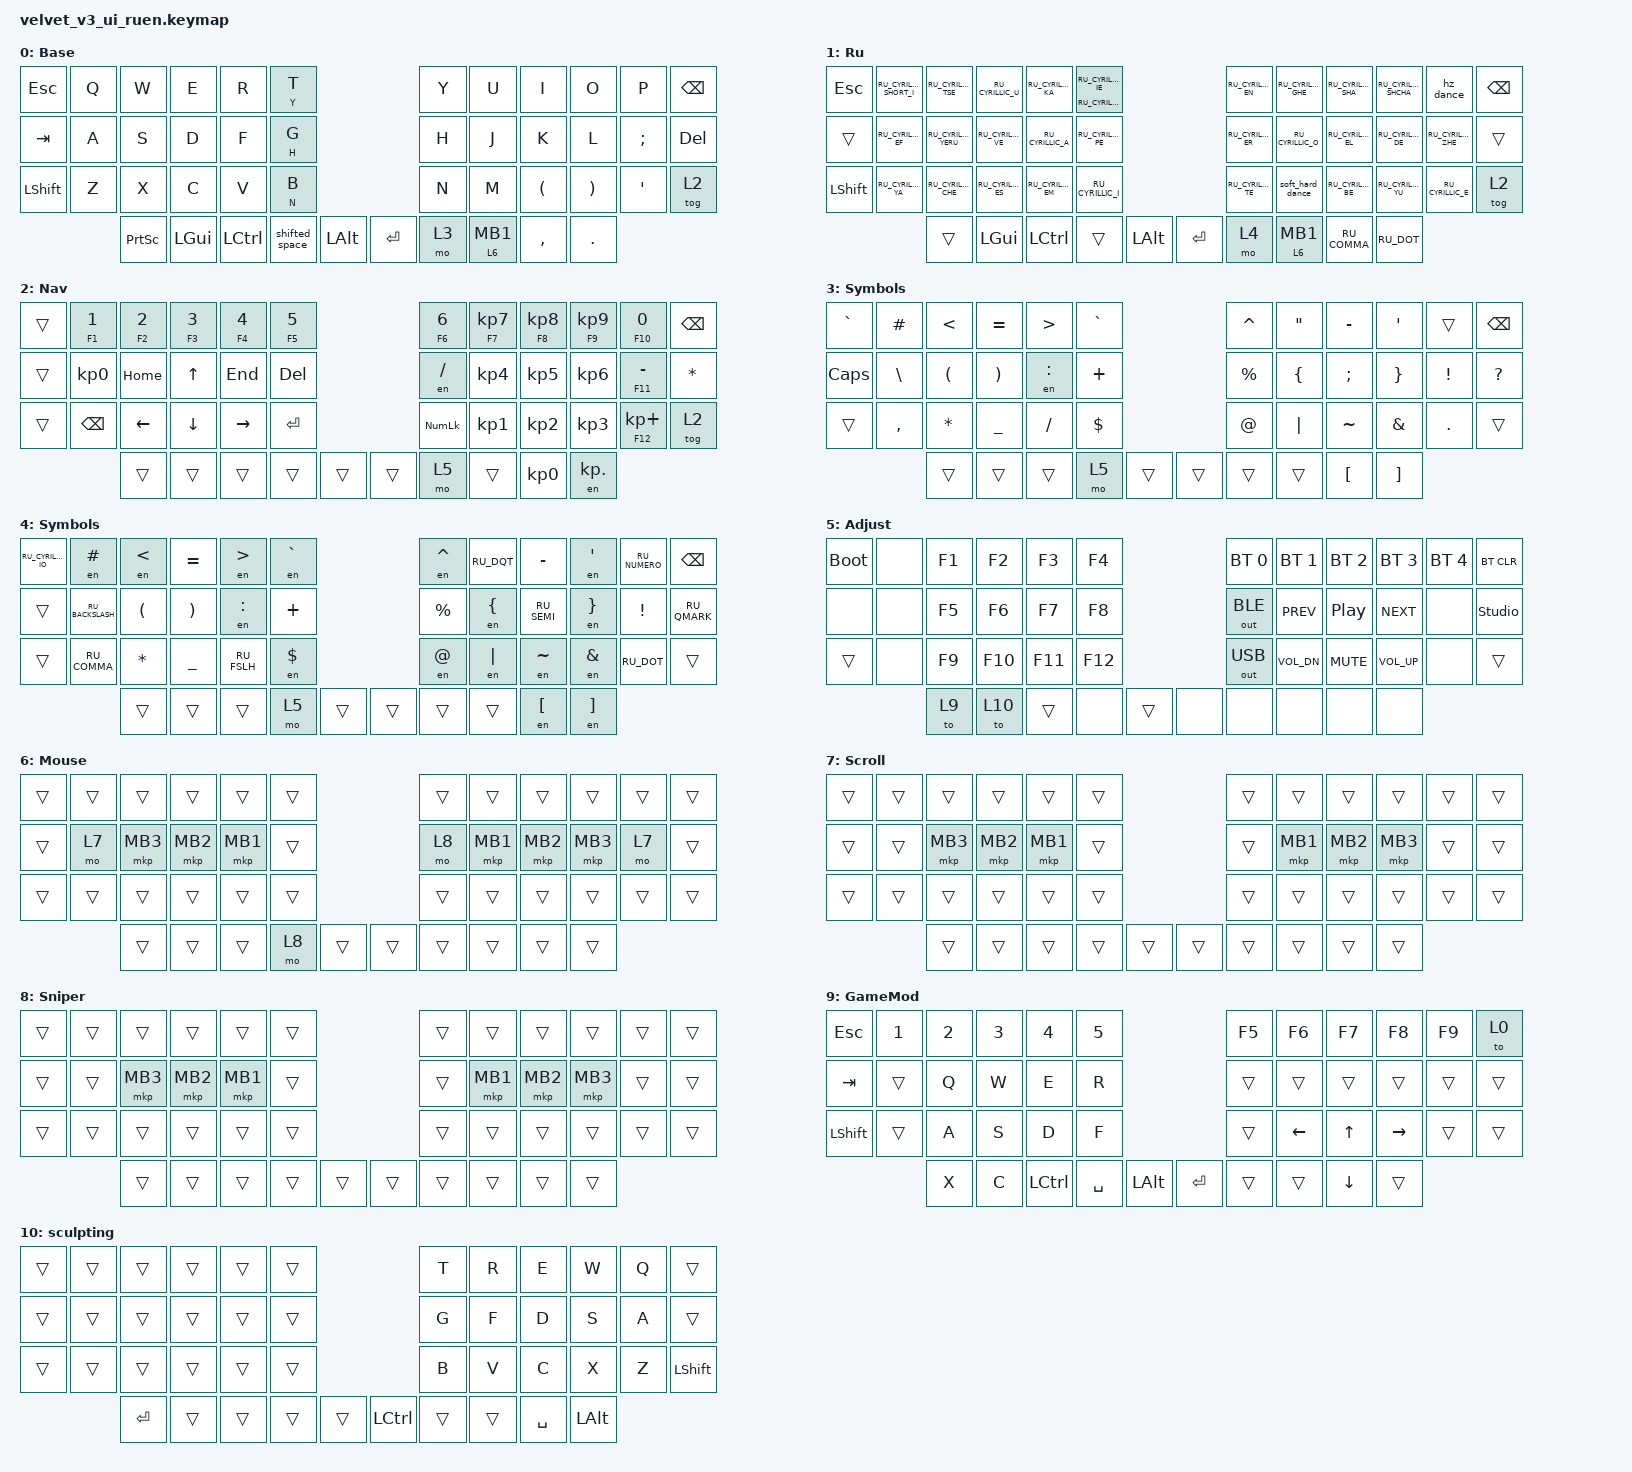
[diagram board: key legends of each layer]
#include "keys_ru.h"
#include <dt-bindings/zmk/input_transform.h>
#include <input/processors.dtsi>
#include <zephyr/dt-bindings/input/input-event-codes.h>
#include <behaviors.dtsi>
#include <dt-bindings/zmk/bt.h>
#include <dt-bindings/zmk/keys.h>
#include <dt-bindings/zmk/outputs.h>
#include <dt-bindings/zmk/pointing.h>

&mt { flavor = "balanced"; };

/ {
    behaviors {
        cap_sen: cap_sen {
            compatible = "zmk,behavior-hold-tap";
            label = "CAP_SEN";
            bindings = <&mo>, <&none>;

            #binding-cells = <2>;
            tapping-term-ms = <150>;
            hold-while-undecided;
        };

        mouse_layer: mouse_layer {
            compatible = "zmk,behavior-sticky-key";
            label = "MOUSE_LAYER";
            bindings = <&mo>;
            #binding-cells = <1>;
            release-after-ms = <200>;
        };

        hz_dance: hz_dance {
            compatible = "zmk,behavior-tap-dance";
            label = "HZ_DANCE";
            #binding-cells = <0>;
            bindings = <&kp RU_CYRILLIC_ZE>, <&kp RU_CYRILLIC_HA>;
        };

        custom_lt: custom_lt {
            compatible = "zmk,behavior-hold-tap";
            label = "CUSTOM_LT";
            bindings = <&mo>, <&kp>;

            #binding-cells = <2>;
            tapping-term-ms = <200>;
        };

        shifted_space: shifted_space {
            compatible = "zmk,behavior-mod-morph";
            label = "SHIFTED_SPACE";
            bindings = <&custom_lt 2 SPACE>, <&kp SPACE>;

            #binding-cells = <0>;
            mods = <(MOD_LSFT)>;
        };

        soft_hard_dance: soft_hard_dance {
            compatible = "zmk,behavior-tap-dance";
            label = "SOFT_HARD_DANCE";
            #binding-cells = <0>;
            bindings = <&kp RU_CYRILLIC_SOFT_SIGN>, <&kp RU_CYRILLIC_HARD_SIGN>;
        };

        shsch_danse: shsch_danse {
            compatible = "zmk,behavior-tap-dance";
            label = "SHSCH_DANSE";
            #binding-cells = <0>;
            bindings = <&kp RU_CYRILLIC_SHA>, <&kp RU_CYRILLIC_SHCHA>;
        };

        zip_auto_mouse: zip_auto_mouse {
            compatible = "zmk,input-processor-temp-layer";
            #input-processor-cells = <2>;
            require-prior-idle-ms = <800>;
            excluded-positions = <>;
        };
    };

    combos {
        compatible = "zmk,combos";

        cmben {
            bindings = <&layer_en>;
            key-positions = <14 15>;
            layers = <1 0>;
        };

        cmbru {
            bindings = <&layer_ru>;
            key-positions = <15 16>;
            layers = <0 1>;
        };

        cmbby {
            bindings = <&to_by>;
            key-positions = <16 17>;
            layers = <1 0>;
        };
    };

    macros {
        to_ru: to_ru {
            compatible = "zmk,behavior-macro";
            #binding-cells = <0>;
            bindings = <&kp LS(LC(N2))>;
            label = "TO_RU";
            wait-ms = <0>;
            tap-ms = <30>;
        };

        to_en: to_en {
            compatible = "zmk,behavior-macro";
            #binding-cells = <0>;
            bindings = <&kp LS(LC(N1))>;
            label = "TO_EN";
            wait-ms = <0>;
            tap-ms = <30>;
        };

        layer_en: layer_en {
            compatible = "zmk,behavior-macro";
            #binding-cells = <0>;
            bindings = <&to 0 &to_en>;
            label = "LAYER_EN";
            wait-ms = <0>;
            tap-ms = <30>;
        };

        layer_ru: layer_ru {
            compatible = "zmk,behavior-macro";
            #binding-cells = <0>;
            bindings = <&to 1 &to_ru>;
            label = "LAYER_RU";
            tap-ms = <30>;
            wait-ms = <0>;
        };

        en: en {
            compatible = "zmk,behavior-macro-one-param";
            #binding-cells = <1>;
            bindings =
                <&to_en>,
                <&macro_press>,
                <&macro_param_1to1 &kp MACRO_PLACEHOLDER>,
                <&macro_pause_for_release>,
                <&macro_release>,
                <&macro_param_1to1 &kp MACRO_PLACEHOLDER>,
                <&macro_tap>,
                <&to_ru>;

            label = "EN";
            wait-ms = <0>;
            tap-ms = <30>;
        };

        to_by: to_by {
            compatible = "zmk,behavior-macro";
            #binding-cells = <0>;
            bindings = <&to 1 &kp LC(LS(NUMBER_3))>;
            label = "TO_BY";
        };
    };

    keymap {
        compatible = "zmk,keymap";

        en {
            bindings = <
&kp ESC    &kp Q  &kp W            &kp E     &kp R      &mt Y T                                  &kp Y  &kp U           &kp I      &kp O     &kp P     &kp BSPC
&kp TAB    &kp A  &kp S            &kp D     &kp F      &mt H G                                  &kp H  &kp J           &kp K      &kp L     &kp SEMI  &kp DELETE
&kp LSHFT  &kp Z  &kp X            &kp C     &kp V      &mt N B                                  &kp N  &kp M           &kp LPAR   &kp RPAR  &kp SQT   &tog 2
                  &kp PRINTSCREEN  &kp LGUI  &kp LCTRL  &shifted_space  &kp LEFT_ALT    &kp RET  &mo 3  &cap_sen 6 MB1  &kp COMMA  &kp DOT
            >;

            display-name = "Base";
        };

        ru {
            display-name = "Ru";
            bindings = <
&kp ESC    &kp RU_CYRILLIC_SHORT_I  &kp RU_CYRILLIC_TSE   &kp RU_CYRILLIC_U   &kp RU_CYRILLIC_KA  &mt RU_CYRILLIC_IO RU_CYRILLIC_IE                           &kp RU_CYRILLIC_EN  &kp RU_CYRILLIC_GHE  &kp RU_CYRILLIC_SHA  &kp RU_CYRILLIC_SHCHA  &hz_dance            &kp BACKSPACE
&trans     &kp RU_CYRILLIC_EF       &kp RU_CYRILLIC_YERU  &kp RU_CYRILLIC_VE  &kp RU_CYRILLIC_A   &kp RU_CYRILLIC_PE                                          &kp RU_CYRILLIC_ER  &kp RU_CYRILLIC_O    &kp RU_CYRILLIC_EL   &kp RU_CYRILLIC_DE     &kp RU_CYRILLIC_ZHE  &trans
&kp LSHFT  &kp RU_CYRILLIC_YA       &kp RU_CYRILLIC_CHE   &kp RU_CYRILLIC_ES  &kp RU_CYRILLIC_EM  &kp RU_CYRILLIC_I                                           &kp RU_CYRILLIC_TE  &soft_hard_dance     &kp RU_CYRILLIC_BE   &kp RU_CYRILLIC_YU     &kp RU_CYRILLIC_E    &tog 2
                                    &trans                &kp LGUI            &kp LCTRL           &trans                             &kp LEFT_ALT    &kp RET  &mo 4               &cap_sen 6 MB1       &kp RU_COMMA         &kp RU_DOT
            >;
        };

        nav {
            bindings = <
&trans  &mt F1 N1        &mt F2 NUMBER_2  &mt F3 N3       &mt F4 N4        &mt F5 N5                     &mt F6 N6       &mt F7 KP_NUMBER_7  &mt F8 KP_NUMBER_8  &mt F9 KP_NUMBER_9  &mt F10 N0       &kp BACKSPACE
&trans  &kp KP_NUMBER_0  &kp HOME         &kp UP          &kp END          &kp DELETE                    &en FSLH        &kp KP_NUMBER_4     &kp KP_NUMBER_5     &kp KP_NUMBER_6     &mt F11 MINUS    &kp ASTRK
&trans  &kp BACKSPACE    &kp LEFT_ARROW   &kp DOWN_ARROW  &kp RIGHT_ARROW  &kp ENTER                     &kp KP_NUMLOCK  &kp KP_NUMBER_1     &kp KP_NUMBER_2     &kp KP_NUMBER_3     &mt F12 KP_PLUS  &tog 2
                         &trans           &trans          &trans           &trans      &trans    &trans  &mo 5           &trans              &kp KP_NUMBER_0     &en KP_DOT
            >;

            display-name = "Nav";
        };

        sym_en {
            bindings = <
&kp GRAVE  &kp HASH   &kp LT    &kp EQUAL              &kp GT     &kp GRAVE                    &kp CARET  &kp DQT   &kp MINUS  &kp SQT   &trans    &kp BACKSPACE
&kp CAPS   &kp BSLH   &kp LPAR  &kp RIGHT_PARENTHESIS  &en COLON  &kp PLUS                     &kp PRCNT  &kp LBRC  &kp SEMI   &kp RBRC  &kp EXCL  &kp QUESTION
&trans     &kp COMMA  &kp STAR  &kp UNDER              &kp FSLH   &kp DLLR                     &kp AT     &kp PIPE  &kp TILDE  &kp AMPS  &kp DOT   &trans
                      &trans    &trans                 &trans     &mo 5      &trans    &trans  &trans     &trans    &kp LBKT   &kp RBKT
            >;

            display-name = "Symbols";
        };

        sym_ru {
            display-name = "Symbols";
            bindings = <
&kp RU_CYRILLIC_IO  &en HASH          &en LT    &kp EQUAL              &en GT       &en GRAVE                    &en CARET  &kp RU_DQT  &kp MINUS    &en SQT   &kp RU_NUMERO  &kp BACKSPACE
&trans              &kp RU_BACKSLASH  &kp LPAR  &kp RIGHT_PARENTHESIS  &en COLON    &kp PLUS                     &kp PRCNT  &en LBRC    &kp RU_SEMI  &en RBRC  &kp EXCL       &kp RU_QMARK
&trans              &kp RU_COMMA      &kp STAR  &kp UNDER              &kp RU_FSLH  &en DLLR                     &en AT     &en PIPE    &en TILDE    &en AMPS  &kp RU_DOT     &trans
                                      &trans    &trans                 &trans       &mo 5      &trans    &trans  &trans     &trans      &en LBKT     &en RBKT
            >;
        };

        adj {
            bindings = <
&bootloader  &none  &kp F1  &kp F2   &kp F3   &kp F4                    &bt BT_SEL 0  &bt BT_SEL 1  &bt BT_SEL 2      &bt BT_SEL 3  &bt BT_SEL 4  &bt BT_CLR
&none        &none  &kp F5  &kp F6   &kp F7   &kp F8                    &out OUT_BLE  &kp C_PREV    &kp C_PLAY_PAUSE  &kp C_NEXT    &none         &studio_unlock
&trans       &none  &kp F9  &kp F10  &kp F11  &kp F12                   &out OUT_USB  &kp C_VOL_DN  &kp C_MUTE        &kp C_VOL_UP  &none         &trans
                    &to 9   &to 10   &trans   &none    &trans    &none  &none         &none         &none             &none
            >;

            display-name = "Adjust";
        };

        mouse {
            bindings = <
&trans  &trans  &trans    &trans    &trans    &trans                    &trans  &trans    &trans    &trans    &trans  &trans
&trans  &mo 7   &mkp MB3  &mkp MB2  &mkp MB1  &trans                    &mo 8   &mkp MB1  &mkp MB2  &mkp MB3  &mo 7   &trans
&trans  &trans  &trans    &trans    &trans    &trans                    &trans  &trans    &trans    &trans    &trans  &trans
                &trans    &trans    &trans    &mo 8   &trans    &trans  &trans  &trans    &trans    &trans
            >;

            display-name = "Mouse";
        };

        scroll {
            bindings = <
&trans  &trans  &trans    &trans    &trans    &trans                    &trans  &trans    &trans    &trans    &trans  &trans
&trans  &trans  &mkp MB3  &mkp MB2  &mkp MB1  &trans                    &trans  &mkp MB1  &mkp MB2  &mkp MB3  &trans  &trans
&trans  &trans  &trans    &trans    &trans    &trans                    &trans  &trans    &trans    &trans    &trans  &trans
                &trans    &trans    &trans    &trans  &trans    &trans  &trans  &trans    &trans    &trans
            >;

            display-name = "Scroll";
        };

        sniper {
            bindings = <
&trans  &trans  &trans    &trans    &trans    &trans                    &trans  &trans    &trans    &trans    &trans  &trans
&trans  &trans  &mkp MB3  &mkp MB2  &mkp MB1  &trans                    &trans  &mkp MB1  &mkp MB2  &mkp MB3  &trans  &trans
&trans  &trans  &trans    &trans    &trans    &trans                    &trans  &trans    &trans    &trans    &trans  &trans
                &trans    &trans    &trans    &trans  &trans    &trans  &trans  &trans    &trans    &trans
            >;

            display-name = "Sniper";
        };

        GameMod {
            bindings = <
&kp ESC    &kp N1  &kp N2  &kp N3  &kp N4     &kp N5                          &kp F5  &kp F6    &kp F7    &kp F8     &kp F9  &to 0
&kp TAB    &trans  &kp Q   &kp W   &kp E      &kp R                           &trans  &trans    &trans    &trans     &trans  &trans
&kp LSHFT  &trans  &kp A   &kp S   &kp D      &kp F                           &trans  &kp LEFT  &kp UP    &kp RIGHT  &trans  &trans
                   &kp X   &kp C   &kp LCTRL  &kp SPACE  &kp LALT    &kp RET  &trans  &trans    &kp DOWN  &trans
            >;
        };

        sculpting {
            bindings = <
&trans  &trans  &trans   &trans  &trans  &trans                       &kp T   &kp R   &kp E      &kp W         &kp Q  &trans
&trans  &trans  &trans   &trans  &trans  &trans                       &kp G   &kp F   &kp D      &kp S         &kp A  &trans
&trans  &trans  &trans   &trans  &trans  &trans                       &kp B   &kp V   &kp C      &kp X         &kp Z  &kp LSHFT
                &kp RET  &trans  &trans  &trans  &trans    &kp LCTRL  &trans  &trans  &kp SPACE  &kp LEFT_ALT
            >;
        };
    };
};

&trackball { cpi = <2000>; };

&trackball_listener {
    input-processors = <&zip_auto_mouse 6 500>, <&zip_xy_scaler 1 4>;

    scroller {
        layers = <7>;
        input-processors =
            <&zip_xy_transform INPUT_TRANSFORM_Y_INVERT>,
            <&zip_xy_scaler 1 32>,
            <&zip_xy_to_scroll_mapper>;
    };

    sniper {
        layers = <8>;
        input-processors = <&zip_xy_scaler 9 20>;
    };
};
